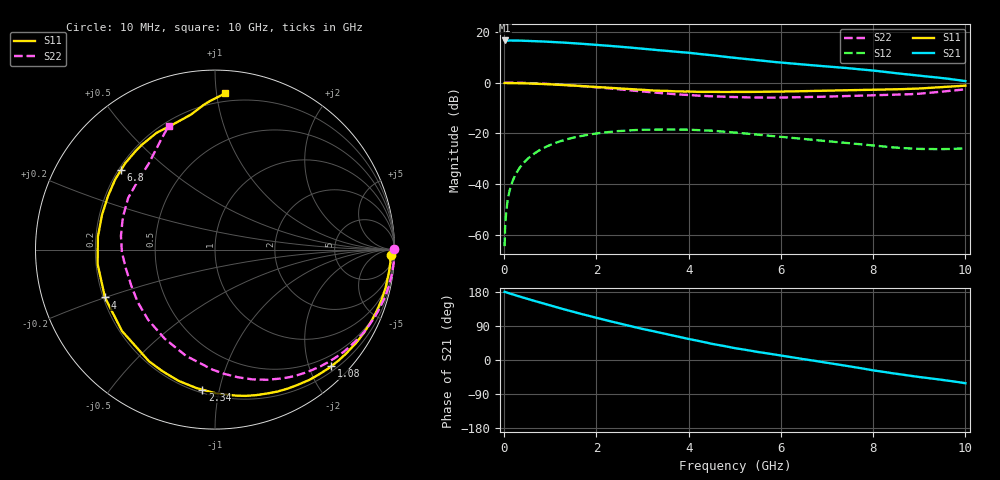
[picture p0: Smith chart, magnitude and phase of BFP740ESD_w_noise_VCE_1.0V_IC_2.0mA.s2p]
! Infineon Technologies  Discrete & RF Semiconductors
! BFP740ESD
! VCE =  1.0 V,  IC =  2.0 mA
! Common Emitter S-Parameters:  Jan 2016
# GHz  S  MA  R  50
!  f  S11  S21  S12  S22
! GHz  MAG  ANG  MAG  ANG  MAG  ANG  MAG  ANG
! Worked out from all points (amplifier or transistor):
!   233 points, 10 MHz to 10 GHz, reference 50 ohm
!   highest |S21| = 16.6 dB at 10 MHz (marker M1)
!   |S21| within 3 dB of that: start of sweep to 2.856 GHz
!   unconditionally stable (mu >= 1): 7.04 GHz to 9.805 GHz
!   at 200 MHz: K = 0.01, MSG = 27.3 dB, |S12| = -38.1 dB
!   at 1.74 GHz: K = 0.17, MSG = 18.0 dB, |S12| = -20.8 dB
!   at 10 GHz: K = 0.80, MSG = 13.3 dB, |S12| = -25.9 dB
!   lowest NFmin = 0.52 dB at 450 MHz
!   S11 on the Smith chart (normalised r, x): 10 MHz: 33, -50; 1.08 GHz: 0.29, -2.38; 2.34 GHz: 0.22, -0.89; 4 GHz: 0.21, -0.20; 6.8 GHz: 0.21, +0.35; 10 GHz: 0.15, +1.06
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0.01  0.9817 -1.6  6.764 179.9  0.0006 35.6  0.9974 0.2
0.02  0.9815 -1.0  6.656 179.7  0.0013 87.1  0.9991 -0.6
0.03  0.9798 -1.4  6.668 179.2  0.0019 89.1  0.9991 -0.9
0.07  0.9777 -3.0  6.711 177.5  0.0044 88.4  0.999 -2.3
0.24  0.9741 -10.1  6.718 171.0  0.015 82.5  0.9948 -7.9
0.45  0.9659 -19.0  6.668 163.4  0.028 75.9  0.985 -14.7
0.7  0.9501 -29.4  6.556 154.4  0.0428 68.0  0.9666 -22.7
1.08  0.9176 -45.1  6.3 141.3  0.0633 56.3  0.9286 -34.8
1.4  0.8841 -58.3  6.05 130.3  0.0783 46.8  0.8897 -44.8
1.68  0.8543 -69.4  5.822 121.3  0.0892 38.9  0.8529 -53.1
1.9  0.8325 -78.2  5.635 114.5  0.0967 33.0  0.8236 -59.6
2.34  0.7834 -95.2  5.248 101.1  0.1083 21.7  0.7601 -72.2
2.92  0.7276 -117.6  4.731 84.3  0.117 7.6  0.6779 -89.0
3.4  0.6899 -135.0  4.314 71.4  0.1189 -3.0  0.6213 -102.3
4  0.6685 -156.5  3.875 55.5  0.1183 -15.0  0.5703 -119.4
4.5  0.659 -173.0  3.471 42.7  0.113 -24.7  0.54 -133.7
5.1  0.655 171.6  3 29.5  0.102 -33.6  0.5167 -147.8
6  0.6664 153.5  2.482 11.7  0.085 -43.1  0.5075 -167.7
6.8  0.6864 139.6  2.15 -3.4  0.0728 -47.1  0.5234 175.6
7.6  0.7124 124.6  1.873 -19.0  0.0626 -48.8  0.5462 158.3
8.4  0.7342 109.2  1.568 -34.6  0.0533 -46.8  0.5715 140.4
10  0.8718 86.3  1.071 -61.3  0.0505 -34.3  0.7371 110.5
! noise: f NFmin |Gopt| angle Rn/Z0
0.45  0.52  0.67  7  0.22
0.9  0.55  0.67  18  0.22
1.9  0.63  0.57  42  0.18
2.4  0.73  0.51  59  0.2
5.5  1.22  0.38  165  0.09
10  2.98  0.7  -98  1.03
